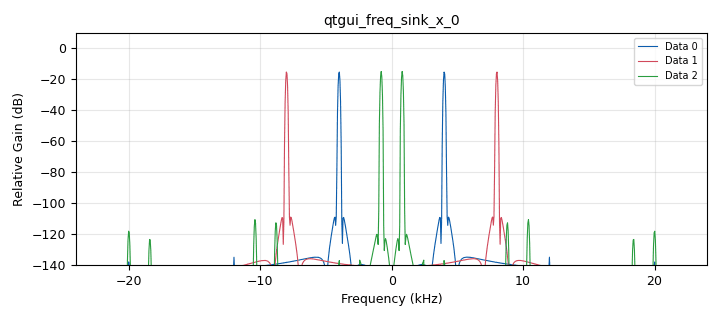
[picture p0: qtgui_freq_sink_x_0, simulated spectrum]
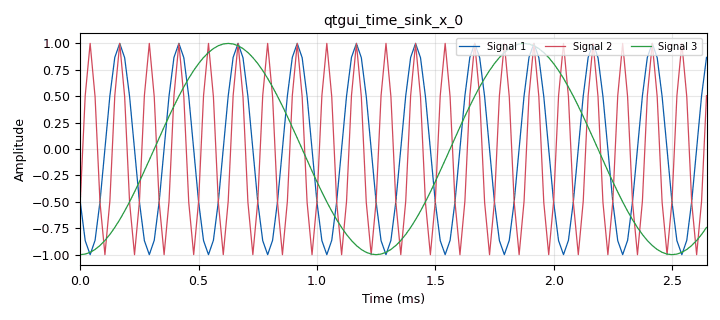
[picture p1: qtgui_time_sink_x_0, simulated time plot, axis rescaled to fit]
options:
  parameters:
    author: Lorena_Cardozo_1
    generate_options: qt_gui
    id: Lab_1_punto_5
    output_language: python
    title: Lab_1_muestras5
  states: {}

blocks:
- name: freq
  id: variable_qtgui_range
  parameters:
    label: frequency
    outputmsgname: value
    showports: 'False'
    start: '1000'
    step: '1000'
    stop: '40000'
    value: '4000'
  states: {}
- name: samp_rate
  id: variable
  parameters:
    value: '48000'
  states: {}
- name: analog_sig_source_x_0
  id: analog_sig_source_x
  parameters:
    amp: '1'
    freq: freq
    offset: '0'
    phase: '0'
    samp_rate: samp_rate
    type: float
    waveform: analog.GR_COS_WAVE
  states: {}
- name: analog_sig_source_x_1
  id: analog_sig_source_x
  parameters:
    amp: '1'
    freq: freq
    offset: '0'
    phase: '0'
    samp_rate: samp_rate
    type: float
    waveform: analog.GR_COS_WAVE
  states: {}
- name: analog_sig_source_x_2
  id: analog_sig_source_x
  parameters:
    amp: '1'
    freq: freq
    offset: '0'
    phase: '0'
    samp_rate: samp_rate
    type: float
    waveform: analog.GR_COS_WAVE
  states: {}
- name: blocks_throttle_0
  id: blocks_throttle
  parameters:
    samples_per_second: samp_rate
    type: float
  states: {}
- name: qtgui_freq_sink_x_0
  id: qtgui_freq_sink_x
  parameters:
    bw: samp_rate
    fc: '0'
    fftsize: '1024'
    nconnections: '3'
    type: float
  states: {}
- name: qtgui_time_sink_x_0
  id: qtgui_time_sink_x
  parameters:
    nconnections: '3'
    size: '128'
    srate: samp_rate
    type: float
  states: {}
- name: rational_resampler_xxx_0
  id: rational_resampler_xxx
  parameters:
    decim: '4'
    interp: '2'
    type: fff
  states: {}
- name: rational_resampler_xxx_1
  id: rational_resampler_xxx
  parameters:
    decim: '1'
    interp: '5'
    type: fff
  states: {}
- name: rational_resampler_xxx_2
  id: rational_resampler_xxx
  parameters:
    decim: '50'
    interp: '50'
    type: fff
  states: {}

connections:
- [analog_sig_source_x_0, '0', rational_resampler_xxx_1, '0']
- [analog_sig_source_x_1, '0', rational_resampler_xxx_2, '0']
- [analog_sig_source_x_2, '0', rational_resampler_xxx_0, '0']
- [blocks_throttle_0, '0', qtgui_freq_sink_x_0, '0']
- [blocks_throttle_0, '0', qtgui_time_sink_x_0, '0']
- [rational_resampler_xxx_0, '0', qtgui_freq_sink_x_0, '1']
- [rational_resampler_xxx_0, '0', qtgui_time_sink_x_0, '1']
- [rational_resampler_xxx_1, '0', qtgui_freq_sink_x_0, '2']
- [rational_resampler_xxx_1, '0', qtgui_time_sink_x_0, '2']
- [rational_resampler_xxx_2, '0', blocks_throttle_0, '0']

metadata:
  file_format: 1
  grc_version: 3.10.4.0
